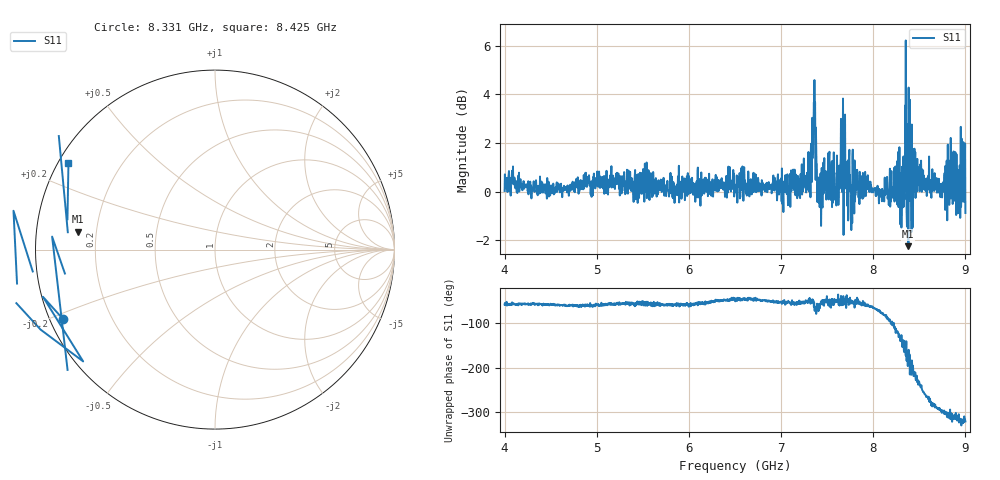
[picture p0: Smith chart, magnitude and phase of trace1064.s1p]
! Created with skrf 1.8.0 (http://scikit-rf.org).
# Hz S RI R 50.0
!freq ReS11 ImS11
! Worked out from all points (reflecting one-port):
!   1601 points, 4 GHz to 9 GHz, reference 50 ohm
!   lowest |S11| = -2.2 dB at 8.381 GHz (marker M1), VSWR 7.77, Z = 6.46 + j3.2 ohm
!   phase of S11 starts at -58 deg and turns -262 deg over the sweep
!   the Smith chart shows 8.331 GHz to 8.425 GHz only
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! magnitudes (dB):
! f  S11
! 4 GHz  0.0
! 4.625 GHz  -0.2
! 5.25 GHz  -0.2
! 5.875 GHz  0.3
! 6.5 GHz  0.2
! 7.125 GHz  0.4
! 7.294 GHz  1.4
! 7.325 GHz  2.0
! 7.347 GHz  1.5
! 7.362 GHz  4.6
! 7.412 GHz  -0.5
! 7.534 GHz  1.0
! 7.609 GHz  1.0
! 7.669 GHz  1.4
! 7.75 GHz  0.3
! 7.891 GHz  0.4
! 8.097 GHz  0.1
! 8.262 GHz  -0.5
! 8.312 GHz  1.0
! 8.334 GHz  -0.1
! 8.375 GHz  -0.4
! 8.381 GHz  -2.2
! 8.394 GHz  1.0
! 8.425 GHz  -0.5
! 8.459 GHz  -0.3
! 8.722 GHz  0.0
! 8.972 GHz  1.0
! 9 GHz  -0.9
